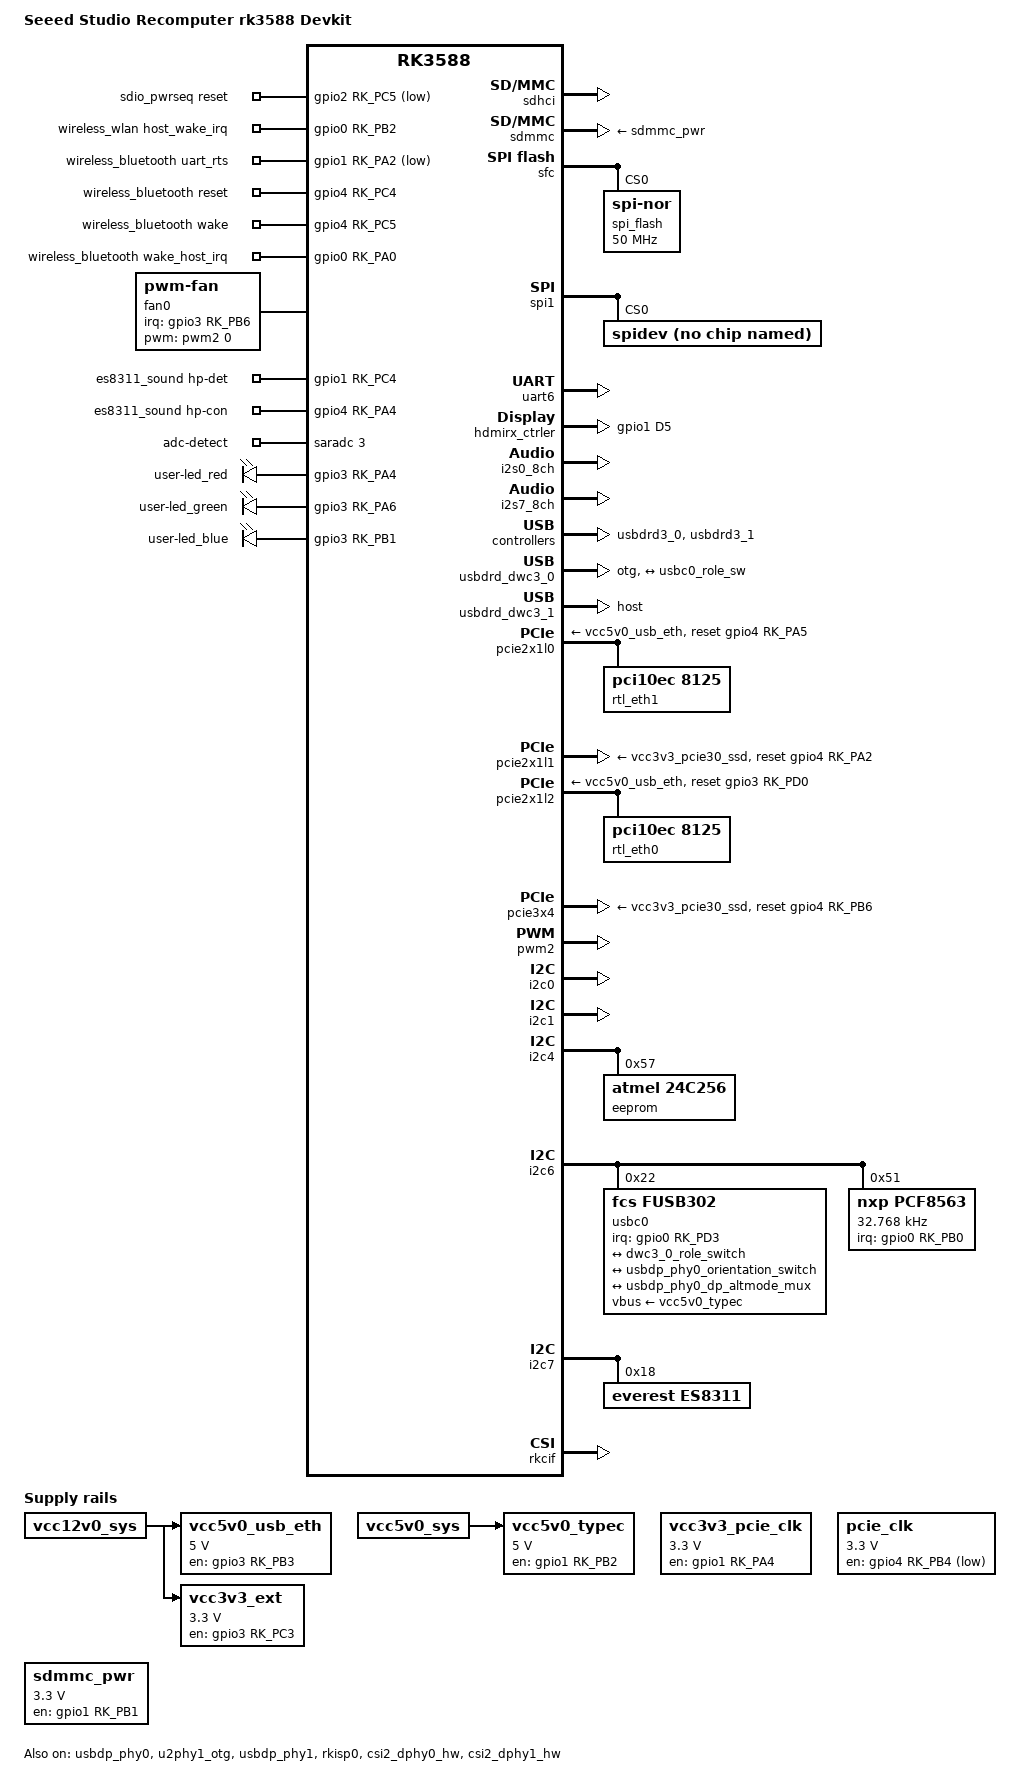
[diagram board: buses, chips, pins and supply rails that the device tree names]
// SPDX-License-Identifier: (GPL-2.0+ OR MIT)
/*
 * Copyright (c) 2024 Rockchip Electronics Co., Ltd.
 * Copyright (c) 2024 Radxa Computer (Shenzhen) Co., Ltd.
 *
 */

/dts-v1/;

#include "rk3588-recomputer-common.dtsi"
#include "recomputer-rk3588-devkit-cam.dtsi"

/ {
	model = "Seeed Studio Recomputer rk3588 Devkit";
	compatible = "seeed studio,recomputer rk3588 devkit", "rockchip,rk3588";

	/delete-node/ chosen;

	aliases {
		ethernet0 = &rtl_eth0;
		ethernet1 = &rtl_eth1;
	};

	vcc5v0_usb_eth: vcc5v0-usb-eth-regulator {
		compatible = "regulator-fixed";
		enable-active-high;
		gpio = <&gpio3 RK_PB3 GPIO_ACTIVE_HIGH>;
		pinctrl-names = "default";
		pinctrl-0 = <&vcc5v0_usb_eth_en>;
		regulator-name = "vcc5v0_usb_eth";
		regulator-min-microvolt = <5000000>;
		regulator-max-microvolt = <5000000>;
		vin-supply = <&vcc12v0_sys>;
	};


	vcc5v0_typec: vcc5v0-typec-regulator {
		compatible = "regulator-fixed";
		enable-active-high;
		gpio = <&gpio1 RK_PB2 GPIO_ACTIVE_HIGH>;
		pinctrl-names = "default";
		pinctrl-0 = <&typec5v_pwren>;
		regulator-name = "vcc5v0_typec";
		regulator-min-microvolt = <5000000>;
		regulator-max-microvolt = <5000000>;
		vin-supply = <&vcc5v0_sys>;
	};


	vcc3v3_ext: vcc3v3-ext-regulator {
		compatible = "regulator-fixed";
		enable-active-high;
		gpio = <&gpio3 RK_PC3 GPIO_ACTIVE_HIGH>;
		pinctrl-names = "default";
		pinctrl-0 = <&usb_sys_en>;

		regulator-name = "vcc3v3_ext";
		regulator-min-microvolt = <3300000>;
		regulator-max-microvolt = <3300000>;
		startup-delay-us = <5000>;
		vin-supply = <&vcc12v0_sys>;
	};

	vcc3v3_pcie_clk: vcc3v3-pcie-clk-regulator {
		regulator-boot-on;
		regulator-always-on;
		compatible = "regulator-fixed";
		regulator-name = "vcc3v3_pcie_clk";
		enable-active-high;
		gpio = <&gpio1 RK_PA4 GPIO_ACTIVE_HIGH>;
		pinctrl-names = "default";
		pinctrl-0 = <&pcie30_clk_en>;
		regulator-min-microvolt = <3300000>;
		regulator-max-microvolt = <3300000>;
	};

	pcie_clk: pcie-clk-regulator {
		enable-active-low;
		gpio = <&gpio4 RK_PB4 GPIO_ACTIVE_HIGH>;
		pinctrl-names = "default";
		pinctrl-0 = <&pcie30_clk>;
		regulator-boot-on;
		regulator-always-on;
		compatible = "regulator-fixed";
		regulator-name = "pcie_clk";
		regulator-min-microvolt = <3300000>;
		regulator-max-microvolt = <3300000>;
	};


	sdmmc_pwr: sdmmc-pwr {
		compatible = "regulator-fixed";
		regulator-name = "sdmmc_pwr";
		regulator-min-microvolt = <3300000>;
		regulator-max-microvolt = <3300000>;
		enable-active-high;
		gpios = <&gpio1 RK_PB1 GPIO_ACTIVE_HIGH>;
		pinctrl-names = "default";
		pinctrl-0 = <&sdmmc_pwr_en>;
	};

	sdio_pwrseq: sdio-pwrseq {
		compatible = "mmc-pwrseq-simple";
		pinctrl-names = "default";
		pinctrl-0 = <&wifi_poweren_gpio>;

		/*
		 * On the module itself this is one of these (depending
		 * on the actual card populated):
		 * - SDIO_RESET_L_WL_REG_ON
		 * - PDN (power down when low)
		 */
		post-power-on-delay-ms = <200>;
		reset-gpios = <&gpio2 RK_PC5 GPIO_ACTIVE_LOW>;
	};

	wireless_wlan: wireless-wlan {
		compatible = "wlan-platdata";
		clocks = <&pcf8563>;
		clock-names = "ext_clock";
		wifi_chip_type = "fcs960k";
		pinctrl-names = "default";
		pinctrl-0 = <&wifi_host_wake_irq>;
		WIFI,host_wake_irq = <&gpio0 RK_PB2 GPIO_ACTIVE_HIGH>;
		status = "okay";
	};

	wireless_bluetooth: wireless-bluetooth {
		compatible = "bluetooth-platdata";
		uart_rts_gpios = <&gpio1 RK_PA2 GPIO_ACTIVE_LOW>;
		pinctrl-names = "default", "rts_gpio";
		pinctrl-0 = <&uart6m1_rtsn>;
		// pinctrl-1 = <&uart6_gpios>;
		BT,reset_gpio    = <&gpio4 RK_PC4 GPIO_ACTIVE_HIGH>;
		BT,wake_gpio     = <&gpio4 RK_PC5 GPIO_ACTIVE_HIGH>;
		BT,wake_host_irq = <&gpio0 RK_PA0 GPIO_ACTIVE_HIGH>;
		status = "okay";
	};


	fan0: pwm-fan {
		compatible = "pwm-fan";
		#cooling-cells = <2>;
		pwms = <&pwm2 0 50000 0>;
		cooling-levels = <25 45 60 75 100 130 170 210 255>;
		// cooling-levels = <0 255>;

        interrupt-parent = <&gpio3>;
		interrupts = <RK_PB6 IRQ_TYPE_EDGE_BOTH>;
		pulses-per-revolution = <2>;
		pinctrl-names = "default";
		pinctrl-0 = <&fan_tach>;

		// rockchip,temp-trips = <
		// 	25000   1
		// >;

		rockchip,temp-trips = <
			38000	1
			44000	2
			50000	3
			56000	4
			62000	5
			68000	6
			74000	7
			80000	8
        >;

		status = "okay";
	};

 	es8311_sound: es8311-sound {
		status = "okay";
		compatible = "rockchip,multicodecs-card";
		rockchip,card-name = "rockchip-es8311";
		io-channels = <&saradc 3>;
		io-channel-names = "adc-detect";
		keyup-threshold-microvolt = <1800000>;
		poll-interval = <100>;
		hp-det-gpio = <&gpio1 RK_PC4 GPIO_ACTIVE_HIGH>;
		hp-con-gpio = <&gpio4 RK_PA4 GPIO_ACTIVE_HIGH>;
		rockchip,pre-power-on-delay-ms = <30>;
		rockchip,post-power-down-delay-ms = <40>;
		rockchip,format = "i2s";
		rockchip,mclk-fs = <256>;
		rockchip,cpu = <&i2s0_8ch>;
		rockchip,codec = <&es8311>;
        rockchip,audio-routing =
            /* Playback path - Headphone from differential output */
            "Headphone", "OUT",
            /* Capture path - Analog microphone */
            "MIC1", "Main Mic",
            "MIC1", "Headset Mic";
		pinctrl-names = "default";
		pinctrl-0 = <&hp_det &hp_con>;

	};


	// /* If hdmirx node is disabled, delete the reserved-memory node here. */
	reserved-memory {
		#address-cells = <2>;
		#size-cells = <2>;
		ranges;

		/* Reserve 256MB memory for hdmirx-controller@fdee0000 */
		cma {
			compatible = "shared-dma-pool";
			reusable;
			reg = <0x0 (256 * 0x100000) 0x0 (256 * 0x100000)>;
			linux,cma-default;
		};
	};

	hdmiin-sound {
		status = "okay";
		compatible = "rockchip,hdmi";
		rockchip,mclk-fs = <128>;
		rockchip,format = "i2s";
		rockchip,bitclock-master = <&hdmirx_ctrler>;
		rockchip,frame-master = <&hdmirx_ctrler>;
		rockchip,card-name = "rockchip,hdmiin";
		rockchip,cpu = <&i2s7_8ch>;
		rockchip,codec = <&hdmirx_ctrler 0>;
		rockchip,jack-det;
	};

	gpio-leds {
		compatible = "gpio-leds";
		pinctrl-names = "default";

		user-led_red {
			gpios = <&gpio3 RK_PA4 GPIO_ACTIVE_HIGH>;
			default-state = "off";
		};

		user-led_green {
			gpios = <&gpio3 RK_PA6 GPIO_ACTIVE_HIGH>;
			default-state = "off";
		};

		user-led_blue {
			gpios = <&gpio3 RK_PB1 GPIO_ACTIVE_HIGH>;
			linux,default-trigger = "heartbeat";
			default-state = "on";
		};
	};
};

/***************** storage **************************/
&sdhci {
	pinctrl-0 = <&emmc_rstnout &emmc_bus8 &emmc_clk &emmc_cmd &emmc_data_strobe>;
	pinctrl-names = "default";
	status = "okay";
};

&sdmmc {
        pinctrl-0 = <&sdmmc_clk &sdmmc_cmd &sdmmc_det &sdmmc_bus4>;
        pinctrl-names = "default";
        vmmc-supply = <&sdmmc_pwr>;
};

&sdio {
	mmc-pwrseq = <&sdio_pwrseq>;
	pinctrl-names = "default";
	pinctrl-0 = <&sdiom0_pins>;
};

&sfc {
	status = "okay";
	max-freq = <50000000>;
	#address-cells = <1>;
	#size-cells = <0>;
	pinctrl-names = "default";
	pinctrl-0 = <&fspim2_pins>;

	spi_flash: spi-flash@0 {
		#address-cells = <1>;
		#size-cells = <0>;
		compatible = "jedec,spi-nor";
		reg = <0x0>;
		spi-max-frequency = <50000000>;
		spi-tx-bus-width = <1>;
		spi-rx-bus-width = <4>;
		status = "okay";

		// partitions {
		// 	compatible = "fixed-partitions";
		// 	#address-cells = <1>;
		// 	#size-cells = <1>;

		// 	loader@0 {
		// 		label = "loader";
		// 		reg = <0x0 0x1000000>;
		// 	};
		// };
	};
};


&spi1{
	status = "okay";
	pinctrl-names = "default";
	pinctrl-0 = <&spi1m0_pins &spi1m0_cs0>;

	spidev@0 {
		compatible = "spidev";
		reg = <0>;
		status = "okay";
	};

};

&soc_thermal {
	polling-delay = <1000>;
	polling-delay-passive = <1000>;
	trips {
		trip0: trip-point@0 {
			temperature = <45000>;
			hysteresis = <5000>;
			type = "active";
		};
		trip1: trip-point@1 {
			temperature = <50000>;
			hysteresis = <5000>;
			type = "active";
		};
		trip2: trip-point@2 {
			temperature = <55000>;
			hysteresis = <5000>;
			type = "active";
		};
		trip3: trip-point@3 {
			temperature = <60000>;
			hysteresis = <5000>;
			type = "active";
		};
		trip4: trip-point@4 {
			temperature = <65000>;
			hysteresis = <5000>;
			type = "active";
		};
		trip5: trip-point@5 {
			temperature = <70000>;
			hysteresis = <5000>;
			type = "active";
		};
		trip6: trip-point@6 {
			temperature = <75000>;
			hysteresis = <5000>;
			type = "active";
		};
		pcritical: trip-point@7 {
			temperature = <80000>;
			hysteresis = <1000>;
			type = "active";
		};
	};
	cooling-maps {
		map0 {
			trip = <&trip0>;
			cooling-device = <&fan0 0 1>;
			contribution = <1024>;
		};
		map1 {
			trip = <&trip1>;
			cooling-device = <&fan0 1 2>;
			contribution = <1024>;
		};
		map2 {
			trip = <&trip2>;
			cooling-device = <&fan0 2 3>;
			contribution = <1024>;
		};
		map3 {
			trip = <&trip3>;
			cooling-device = <&fan0 3 4>;
			contribution = <1024>;
		};
		map4 {
			trip = <&trip4>;
			cooling-device = <&fan0 4 5>;
			contribution = <1024>;
		};
		map5 {
			trip = <&trip5>;
			cooling-device = <&fan0 5 6>;
			contribution = <1024>;
		};
		map6 {
			trip = <&trip6>;
			cooling-device = <&fan0 6 7>;
			contribution = <1024>;
		};
		map7 {
			trip = <&pcritical>;
			cooling-device = <&fan0 7 8>;
			contribution = <1024>;
		};
	};
};

/************************ uart ************************************/

&uart6 {
	pinctrl-names = "default";
	pinctrl-0 = <&uart6m1_xfer &uart6m1_ctsn &uart6m1_rtsn>;
	status = "okay";

};

/***************** HDMI *****************************/
&hdmi0 {
	enable-gpios = <&gpio4 RK_PB1 GPIO_ACTIVE_HIGH>;
};

&hdmi0_in_vp1 {
	status = "disabled";
};

&hdmi0_in_vp2 {
	status = "disabled";
};

&hdmi1 {
	pinctrl-names = "default";
	pinctrl-0 = <&hdmim0_tx1_cec &hdmim0_tx1_hpd &hdmim1_tx1_scl &hdmim1_tx1_sda>;
	enable-gpios = <&gpio4 RK_PB2 GPIO_ACTIVE_HIGH>;
};

&hdmi1_in_vp0 {
	status = "disabled";
};

&hdmi1_in_vp2 {
	status = "disabled";
};

/* Should work with at least 128MB cma reserved above. */
&hdmirx_ctrler {
	status = "okay";

	/* Effective level used to trigger HPD: 0-low, 1-high */
	hpd-trigger-level = <1>;
	hdmirx-det-gpios = <&gpio1 RK_PD5 GPIO_ACTIVE_LOW>;
	pinctrl-0 = <&hdmim1_rx_cec &hdmim1_rx_hpdin &hdmim1_rx_scl &hdmim1_rx_sda &hdmirx_det>;
	pinctrl-names = "default";
	#sound-dai-cells = <1>;
};

/********************** I2S **********************************/

&i2s0_8ch {
	status = "okay";
	rockchip,playback-channels = <2>;
	rockchip,capture-channels = <2>;
	#sound-dai-cells = <0>;
	pinctrl-names = "default";
	pinctrl-0 = <&i2s0_lrck
		     &i2s0_sclk
		     &i2s0_sdi0
		     &i2s0_sdo0>;
};

&i2s7_8ch {
	status = "okay";
};

/********************** USB *******************************/

// typec 1
&usbdp_phy0 {
    orientation-switch;
    mode-switch;
    sbu1-dc-gpios = <&gpio4 RK_PA6 GPIO_ACTIVE_HIGH>;
    sbu2-dc-gpios = <&gpio4 RK_PA7 GPIO_ACTIVE_HIGH>;
    status = "okay";

    port {
        #address-cells = <1>;
        #size-cells = <0>;
        usbdp_phy0_orientation_switch: endpoint@0 {
            reg = <0>;
            remote-endpoint = <&usbc0_orien_sw>;
        };

        usbdp_phy0_dp_altmode_mux: endpoint@1 {
            reg = <1>;
            remote-endpoint = <&dp_altmode_mux>;
        };
    };
};

&usbdrd3_0 {
    status = "okay";
};

&usbdrd_dwc3_0 {
    status = "okay";
    dr_mode = "otg";
    usb-role-switch;
    port {
        #address-cells = <1>;
        #size-cells = <0>;
        dwc3_0_role_switch: endpoint@0 {
            reg = <0>;
            remote-endpoint = <&usbc0_role_sw>;
        };
    };
};

// typec 2
&u2phy1_otg {
    phy-supply = <&vcc3v3_ext>;
    status = "okay";
};

&usbdp_phy1 {
    rockchip,dp-lane-mux = <2 3>;
    status = "okay";
};

&usbdrd3_1 {
    status = "okay";
};

&usbdrd_dwc3_1 {
    dr_mode = "host";
    status = "okay";
};

// usb2.0 host1
// &u2phy2 {
//     status = "okay";
// };

// &u2phy2_host {
//     // phy-supply = <&vcc5v0_usb_eth>;
//     status = "okay";
// };

// &usb_host0_ehci {
//     status = "okay";
// };

// &usb_host0_ohci {
//     status = "okay";
// };

/**********************PCIE****************************/

/* phy1 - right ethernet port PCIE20_1_TXP, marked ETH1 on the enclosure */
&pcie2x1l0 {
	reset-gpios = <&gpio4 RK_PA5 GPIO_ACTIVE_HIGH>;
	vpcie3v3-supply = <&vcc5v0_usb_eth>;
	status = "okay";

	pcie@0,0 {
		reg = <0x200000 0 0 0 0>;
		#address-cells = <3>;
		#size-cells = <2>;
		ranges;
		device_type = "pci";
		bus-range = <0x21 0x2f>;

		rtl_eth1: ethernet@0,0 {
			compatible = "pci10ec,8125";
			reg = <0x210000 0 0 0 0>;
			local-mac-address = [00 00 00 00 00 00];
			/* r8125 Ethernet LED configuration:
			 * LED0 (yellow): blink on traffic at all link speeds
			 * LED3 (green): solid on at all link speeds
			 */
			realtek,led-data = <0x18 0x022B 0x96 0x002B>;
		};
	};
};

/* phy2 - M.KEY socket  PCIE20_2_TXP */
&pcie2x1l1 {
	reset-gpios = <&gpio4 RK_PA2 GPIO_ACTIVE_HIGH>;
	vpcie3v3-supply = <&vcc3v3_pcie30_ssd>;
	status = "okay";
};

/* phy0 - left ethernet port PCIE20_0_TXP, marked ETH0 on the enclosure */
&pcie2x1l2 {
	reset-gpios = <&gpio3 RK_PD0 GPIO_ACTIVE_HIGH>;
	vpcie3v3-supply = <&vcc5v0_usb_eth>;
	status = "okay";

	pcie@0,0 {
		reg = <0x400000 0 0 0 0>;
		#address-cells = <3>;
		#size-cells = <2>;
		ranges;
		device_type = "pci";
		bus-range = <0x41 0x4f>;

		rtl_eth0: ethernet@0,0 {
			compatible = "pci10ec,8125";
			reg = <0x410000 0 0 0 0>;
			local-mac-address = [00 00 00 00 00 00];
			/* r8125 Ethernet LED configuration:
			 * LED0 (yellow): blink on traffic at all link speeds
			 * LED3 (green): solid on at all link speeds
			 */
			realtek,led-data = <0x18 0x022B 0x96 0x002B>;
		};
	};
};

&pcie3x4 {
	reset-gpios = <&gpio4 RK_PB6 GPIO_ACTIVE_HIGH>;
	vpcie3v3-supply = <&vcc3v3_pcie30_ssd>;
	status = "okay";
};

/************************PWM******************************/
&pwm2 {
    status = "okay";
    pinctrl-names = "active";
    pinctrl-0 = <&pwm2m2_pins>;
};

/************************I2C****************************/
&i2c0 {
	status = "okay";
	pinctrl-names = "default";
	pinctrl-0 = <&i2c0m2_xfer>;
};

&i2c1 {
	status = "okay";
	pinctrl-names = "default";
	pinctrl-0 = <&i2c1m2_xfer>;
};

&i2c4{
	status = "okay";
	pinctrl-names = "default";
	pinctrl-0 = <&i2c4m1_xfer>;
	eeprom:	at24c256@57 {
		status = "okay";
		compatible = "atmel,24c256";
		reg = <0x57>;
		pagesize = <16>;
	};

};

&i2c6 {
	status = "okay";

	usbc0: fusb302@22 {
        compatible = "fcs,fusb302";
        reg = <0x22>;
        interrupt-parent = <&gpio0>;
        interrupts = <RK_PD3 IRQ_TYPE_LEVEL_LOW>;
        pinctrl-names = "default";
        pinctrl-0 = <&usbc0_int>;
        vbus-supply = <&vcc5v0_typec>;
        status = "okay";

		ports {
			#address-cells = <1>;
			#size-cells = <0>;

			port@0 {
				reg = <0>;
				usbc0_role_sw: endpoint@0 {
					remote-endpoint = <&dwc3_0_role_switch>;
				};
			};
		};

        usb_con: connector {
            compatible = "usb-c-connector";
            label = "USB-C";
            data-role = "dual";
            power-role = "dual";
            try-power-role = "sink";
            op-sink-microwatt = <1000000>;
			/***** must set 5000 ***/
            sink-pdos =
                <PDO_FIXED(5000, 1000, PDO_FIXED_USB_COMM)>;
            source-pdos =
                <PDO_FIXED(5000, 3000, PDO_FIXED_USB_COMM)>;

            altmodes {
                #address-cells = <1>;
                #size-cells = <0>;

                altmode@0 {
                    reg = <0>;
                    svid = /bits/ 16 <0xff01>;
                    vdo = <0xffffffff>;
                };
            };

            ports {
                #address-cells = <1>;
                #size-cells = <0>;

                port@0 {
                    reg = <0>;
                    usbc0_orien_sw: endpoint {
                        remote-endpoint = <&usbdp_phy0_orientation_switch>;
                    };
                };

                port@1 {
                    reg = <1>;
                    dp_altmode_mux: endpoint {
                        remote-endpoint = <&usbdp_phy0_dp_altmode_mux>;
                    };
                };
            };
        };
	};

	pcf8563: pcf8563@51 {
        compatible = "nxp,pcf8563";
		reg = <0x51>;
		status = "okay";
		interrupt-parent = <&gpio0>;
		interrupts = <RK_PB0 IRQ_TYPE_EDGE_FALLING>;
		pinctrl-names = "default";
		pinctrl-0 = <&pcf8563_int>;
		#clock-cells = <0>;
		clock-frequency = <32768>;
		clock-output-names = "xin32k";
	};

};

&i2c7 {
	status = "okay";

    es8311: es8311@18 {
		status = "okay";
		compatible = "everest,es8311";
		reg = <0x18>;
		#sound-dai-cells = <0>;
		adc-pga-gain = <6>;     /* 18dB */
		adc-volume = <0xbf>;    /* 0dB */
		dac-volume = <0xbf>;    /* 0dB */
		aec-mode = "adc left, adc right";
		clocks = <&mclkout_i2s0>;
		clock-names = "mclk";
		assigned-clocks = <&mclkout_i2s0>;
		assigned-clock-rates = <12288000>;
		pinctrl-names = "default";
		pinctrl-0 = <&i2s0_mclk>;
	};

};

&rkcif {
	status = "okay";
};

&rkcif_mmu {
	status = "okay";
};

&rkisp0 {
	status = "okay";
};

&isp0_mmu {
	status = "okay";
};

&csi2_dphy0_hw {
	status = "okay";
};

&csi2_dphy1_hw {
	status = "okay";
};

&pinctrl {
    fan {
		fan_tach: fan-tach {
			rockchip,pins = <3 RK_PB6 RK_FUNC_GPIO &pcfg_pull_up>;
		};
	};

	usb {

		vcc5v0_usb_eth_en: vcc5v0-usb-eth-en {
			rockchip,pins = <3 RK_PB3 RK_FUNC_GPIO &pcfg_pull_none>;
		};

		usb_sys_en: usb-sys-en {
			rockchip,pins = <3 RK_PC3 RK_FUNC_GPIO &pcfg_pull_none>;
		};

	};

	pcie30_ssd {

		pcie30_clk_en: pcie30-clk-en {
			u-boot,dm-pre-reloc;
			rockchip,pins = <1 RK_PA4 RK_FUNC_GPIO &pcfg_pull_none>;
		};

		pcie30_clk: pcie30-clk {
			u-boot,dm-pre-reloc;
			rockchip,pins = <4 RK_PB4 RK_FUNC_GPIO &pcfg_pull_none>;
		};
	};

	usb-typec {
		usbc0_int: usbc0-int {
			rockchip,pins = <0 RK_PD3 RK_FUNC_GPIO &pcfg_pull_up>;
		};

		typec5v_pwren: typec5v-pwren {
			rockchip,pins = <1 RK_PB2 RK_FUNC_GPIO &pcfg_pull_none>;
		};
	};

	pcf8563 {
		pcf8563_int: rtc-int {
			rockchip,pins = <0 RK_PB0 RK_FUNC_GPIO &pcfg_pull_none>;
		};
	};

	headphone {
		hp_det: hp-det {
			rockchip,pins = <1 RK_PC4 RK_FUNC_GPIO &pcfg_pull_up>;
		};
		hp_con: hp-con {
			rockchip,pins = <4 RK_PA4 RK_FUNC_GPIO &pcfg_pull_up>;
		};
	};

	hdmirx {
		hdmirx_det: hdmirx-det {
			rockchip,pins = <1 RK_PD5 RK_FUNC_GPIO &pcfg_pull_none>;
		};
	};

	sdmmc{
		sdmmc_pwr_en: sdmmc-pwr-en {
			rockchip,pins = <1 RK_PB1 RK_FUNC_GPIO &pcfg_pull_none>;
		};
	};

	wifi {
		wifi_host_wake_irq: wifi-host-wake-irq {
			rockchip,pins = <0 RK_PB2 RK_FUNC_GPIO &pcfg_pull_down>;
		};

		wifi_poweren_gpio: wifi-poweren-gpio {
			rockchip,pins = <2 RK_PC5 RK_FUNC_GPIO &pcfg_pull_none>;
		};
	};
};

&gpio0 {
	gpio-line-names =
		/* GPIO0_A0-A3 */
		"", "", "", "",
		/* GPIO0_A4-A7 */
		"", "", "", "",

		/* GPIO0_B0-B3 */
		"", "", "", "",
		/* GPIO0_B4-B7 */
		"", "PIN_8", "PIN_10", "",

		/* GPIO0_C0-C3 */
		"", "", "", "",
		/* GPIO0_C4-C7 */
		"", "", "", "",

		/* GPIO0_D0-D3 */
		"", "", "", "",
		/* GPIO0_D4-D7 */
		"", "", "", "";
};

&gpio1 {
	gpio-line-names =
		/* GPIO1_A0-A3 */
		"", "", "", "",
		/* GPIO1_A4-A7 */
		"", "", "", "",

		/* GPIO1_B0-B3 */
		"", "PIN_21", "PIN_19", "PIN_23",
		/* GPIO1_B4-B7 */
		"PIN_24", "PIN_26", "", "PIN_31",

		/* GPIO1_C0-C3 */
		"", "", "", "",
		/* GPIO1_C4-C7 */
		"", "", "", "",

		/* GPIO1_D0-D3 */
		"", "", "", "",
		/* GPIO1_D4-D7 */
		"", "", "", "PIN_29";
};

&gpio2 {
	gpio-line-names =
		/* GPIO2_A0-A3 */
		"", "", "", "",
		/* GPIO2_A4-A7 */
		"", "", "", "",

		/* GPIO2_B0-B3 */
		"", "", "", "",
		/* GPIO2_B4-B7 */
		"", "", "", "",

		/* GPIO2_C0-C3 */
		"", "", "", "",
		/* GPIO2_C4-C7 */
		"", "", "", "",

		/* GPIO2_D0-D3 */
		"", "", "", "",
		/* GPIO2_D4-D7 */
		"", "", "", "";
};

&gpio3 {
	gpio-line-names =
		/* GPIO3_A0-A3 */
		"", "", "", "",
		/* GPIO3_A4-A7 */
		"PIN_16", "", "", "PIN_33",

		/* GPIO3_B0-B3 */
		"", "PIN_36", "PIN_38", "PIN_40",
		/* GPIO3_B4-B7 */
		"", "PIN_12", "PIN_35", "PIN_13",

		/* GPIO3_C0-C3 */
		"PIN_15", "PIN_11", "PIN_32", "PIN_7",
		/* GPIO3_C4-C7 */
		"", "", "", "",

		/* GPIO3_D0-D3 */
		"", "", "", "",
		/* GPIO3_D4-D7 */
		"", "", "", "";
};

&gpio4 {
	gpio-line-names =
		/* GPIO4_A0-A3 */
		"", "", "", "",
		/* GPIO4_A4-A7 */
		"", "", "", "",

		/* GPIO4_B0-B3 */
		"", "", "PIN_5", "PIN_3",
		/* GPIO4_B4-B7 */
		"", "", "", "",

		/* GPIO4_C0-C3 */
		"", "", "", "",
		/* GPIO4_C4-C7 */
		"PIN_18", "PIN_28", "PIN_27", "",

		/* GPIO4_D0-D3 */
		"", "", "", "",
		/* GPIO4_D4-D7 */
		"", "", "", "";
};
